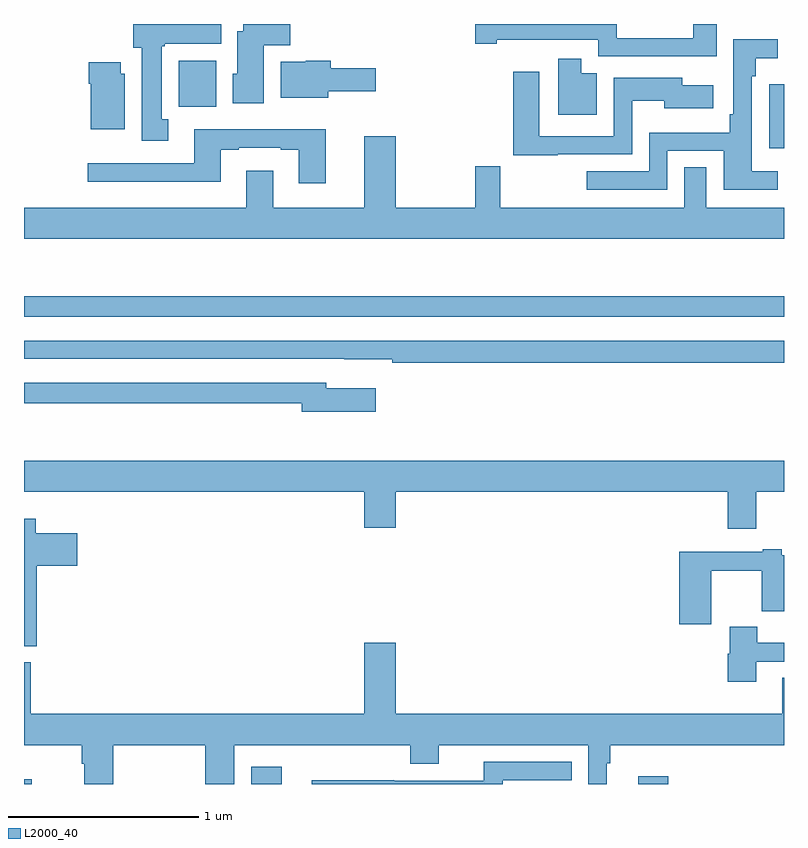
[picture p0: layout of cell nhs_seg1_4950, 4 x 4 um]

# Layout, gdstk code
import gdstk
lib = gdstk.Library(unit=1e-6, precision=1e-09)
def R(c, l, rs):  # rectangles x0, y0, x1, y1
    for r in rs: c.add(gdstk.rectangle(r[:2], r[2:], *l))
def P(c, l, *ps):  # polygons
    for p in ps: c.add(gdstk.Polygon(p, *l))
L2000_40 = (2000, 40)

nhs_seg1_4950 = lib.new_cell('nhs_seg1_4950')
R(nhs_seg1_4950, L2000_40, [(379,546.199,379.04,546.225), (380.196,546.199,380.357,546.289), (382.232,546.199,382.391,546.241), (379,548.658,383,548.767), (382.922,549.546,383,549.883), (379.814,549.764,380.011,550.006)])
P(nhs_seg1_4950, L2000_40, [(379.759,549.698),(379.726,549.698),(379.726,550.081),(379.74,550.081),(379.74,550.094),(380.038,550.094),(380.038,550.199),(379.574,550.199),(379.574,550.074),(379.619,550.074),(379.619,549.585),(379.759,549.585)],
  [(380.263,550.088),(380.402,550.088),(380.402,550.199),(380.153,550.199),(380.153,550.162),(380.123,550.162),(380.123,549.936),(380.099,549.936),(380.099,549.782),(380.263,549.782)],
  [(382.645,550.199),(382.523,550.199),(382.523,550.125),(382.119,550.125),(382.119,550.199),(381.375,550.199),(381.375,550.096),(381.487,550.096),(381.487,550.115),(381.716,550.115),(381.716,550.116),(382.023,550.116),(382.023,550.029),(382.645,550.029)],
  [(382.386,549.531),(382.682,549.531),(382.682,549.327),(382.966,549.327),(382.966,549.423),(382.83,549.423),(382.83,549.923),(382.85,549.923),(382.85,550.019),(382.966,550.019),(382.966,550.12),(382.734,550.12),(382.734,549.724),(382.714,549.724),(382.714,549.627),(382.29,549.627),(382.29,549.423),(381.963,549.423),(381.963,549.327),(382.386,549.327)],
  [(382.015,549.94),(381.934,549.94),(381.934,550.015),(381.812,550.015),(381.812,549.722),(382.015,549.722)],
  [(380.602,549.845),(380.851,549.845),(380.851,549.967),(380.615,549.967),(380.615,550.006),(380.484,550.006),(380.484,550),(380.351,550),(380.351,549.812),(380.602,549.812)],
  [(379.531,549.936),(379.51,549.936),(379.51,549.997),(379.34,549.997),(379.34,549.884),(379.352,549.884),(379.352,549.644),(379.531,549.644)],
  [(381.808,549.513),(382.2,549.513),(382.2,549.794),(382.371,549.794),(382.371,549.755),(382.627,549.755),(382.627,549.876),(382.465,549.876),(382.465,549.916),(382.104,549.916),(382.104,549.609),(381.712,549.609),(381.712,549.949),(381.575,549.949),(381.575,549.508),(381.808,549.508)],
  [(380.587,549.646),(379.895,549.646),(379.895,549.465),(379.335,549.465),(379.335,549.368),(380.035,549.368),(380.035,549.537),(380.131,549.537),(380.131,549.549),(380.351,549.549),(380.351,549.537),(380.447,549.537),(380.447,549.36),(380.587,549.36)],
  [(383,549.232),(382.591,549.232),(382.591,549.446),(382.475,549.446),(382.475,549.232),(381.507,549.232),(381.507,549.451),(381.376,549.451),(381.376,549.232),(380.956,549.232),(380.956,549.607),(380.792,549.607),(380.792,549.232),(380.311,549.232),(380.311,549.427),(380.171,549.427),(380.171,549.232),(379,549.232),(379,549.068),(383,549.068)],
  [(383,548.532),(379,548.532),(379,548.436),(380.686,548.436),(380.686,548.435),(380.938,548.435),(380.938,548.416),(383,548.416)],
  [(380.851,548.281),(380.59,548.281),(380.59,548.31),(379,548.31),(379,548.202),(380.462,548.202),(380.462,548.159),(380.851,548.159)],
  [(382.855,547.736),(383,547.736),(383,547.9),(379,547.9),(379,547.736),(380.792,547.736),(380.792,547.548),(380.956,547.548),(380.956,547.736),(382.703,547.736),(382.703,547.542),(382.855,547.542)],
  [(379.066,547.349),(379.279,547.349),(379.279,547.519),(379.061,547.519),(379.061,547.594),(379,547.594),(379,546.924),(379.066,546.924)],
  [(382.618,547.321),(382.882,547.321),(382.882,547.109),(383,547.109),(383,547.402),(382.989,547.402),(382.989,547.435),(382.889,547.435),(382.889,547.422),(382.448,547.422),(382.448,547.041),(382.618,547.041)],
  [(382.855,546.843),(383,546.843),(383,546.943),(382.858,546.943),(382.858,547.027),(382.715,547.027),(382.715,546.885),(382.703,546.885),(382.703,546.738),(382.855,546.738)],
  [(379.036,546.839),(379,546.839),(379,546.404),(379.304,546.404),(379.304,546.306),(379.316,546.306),(379.316,546.199),(379.469,546.199),(379.469,546.404),(379.955,546.404),(379.955,546.199),(380.107,546.199),(380.107,546.404),(381.032,546.404),(381.032,546.305),(381.184,546.305),(381.184,546.404),(381.969,546.404),(381.969,546.199),(382.066,546.199),(382.066,546.308),(382.085,546.308),(382.085,546.404),(383,546.404),(383,546.758),(382.991,546.758),(382.991,546.568),(380.956,546.568),(380.956,546.943),(380.792,546.943),(380.792,546.568),(379.036,546.568)],
  [(381.52,546.219),(381.884,546.219),(381.884,546.315),(381.421,546.315),(381.421,546.216),(380.948,546.216),(380.948,546.218),(380.514,546.218),(380.514,546.199),(381.52,546.199)])

lib.write_gds('nhs_seg1_4950.gds')
